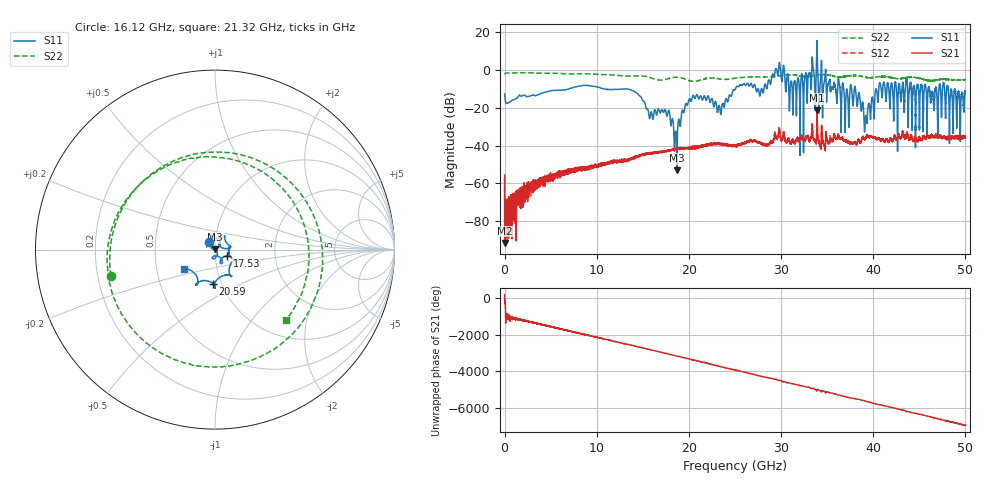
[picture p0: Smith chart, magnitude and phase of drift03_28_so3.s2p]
!Created with skrf (http://scikit-rf.org).
# Hz S RI R 50.0
!freq ReS11 ImS11 ReS21 ImS21 ReS12 ImS12 ReS22 ImS22
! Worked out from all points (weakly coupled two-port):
!   10001 points, 300 kHz to 50 GHz, reference 50 ohm
!   highest |S21| = -21.25 dB at 33.9 GHz (marker M1); lowest = -91.5 dB at 55.3 MHz (marker M2)
!   lowest |S11| = -53.0 dB at 18.7 GHz (marker M3), VSWR 1.00, Z = 50 + j0.221 ohm
!   |S11| at or under -10 dB: start of sweep to 6.945 GHz; 13.31 GHz to 25.05 GHz (11.73 GHz wide, 61.2 % of centre); 38.07 GHz to 40.27 GHz (2.191 GHz wide, 5.59 % of centre) (the widest 3 of 59)
!   |S22| runs from -5.9 to -1.3 dB; largest |S21 - S12| = 0.0093
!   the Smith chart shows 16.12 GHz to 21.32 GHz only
!   S11 on the Smith chart (normalised r, x): 16.12 GHz: 0.94, +0.08; 17.53 GHz: 1.14, -0.08; 20.59 GHz: 0.91, -0.36; 21.32 GHz: 0.69, -0.16
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300000  -0.211 -0.0979  -0.00166 0.0003  -0.00013 0.00138  -0.7661 -0.189
5.529967e7  -0.1599 0.0607  -1.91e-05 -1.84e-05  -0.000231 -5.4e-05  -0.8285 0.0636
1.530291e9  0.2029 0.0455  -6.17e-05 -0.000383  -3.19e-05 -0.000499  0.8487 0.0848
3.160281e9  -0.2188 -0.00834  0.000214 0.000816  -0.000221 0.000898  -0.8438 -0.0244
4.665272e9  0.2635 0.0612  -0.000236 -0.00143  -0.000316 -0.00144  0.8183 0.1415
6.355262e9  -0.2996 -0.0024  0.000715 0.00185  0.000539 0.00189  -0.8039 -0.0482
8.33525e9  0.2836 -0.268  -0.00246 -0.00117  -0.00225 -0.00093  0.601 -0.5366
1.043024e10  -0.0424 0.3319  0.00214 -0.00196  0.00257 -0.00188  -0.0358 0.7702
1.201523e10  0.00681 -0.3085  -0.00283 0.00264  -0.00283 0.00251  0.1035 -0.7285
1.61152e10  -0.0316 0.0413  0.00604 0.00191  0.0062 0.00209  -0.5792 -0.1472
1.66702e10  0.0544 0.0753  0.00438 -0.00493  0.00442 -0.00467  -0.3562 0.4194
1.752519e10  0.0672 -0.035  -0.00609 -0.00397  -0.00603 -0.00394  0.4934 0.2885
1.869519e10  0.000335 0.00221  0.00241 0.0078  0.00248 0.00783  -0.0888 -0.6486
2.058518e10  -0.0105 -0.191  -0.00889 -0.00442  -0.00767 -0.00369  0.3826 0.332
2.132017e10  -0.1703 -0.1074  -0.00468 0.00798  -0.00494 0.00877  0.3956 -0.393
2.500015e10  -0.2971 -0.0481  0.0074 0.00705  0.00774 0.0065  -0.192 -0.5814
3.051012e10  0.2452 -0.1065  -0.00213 0.0128  -0.00218 0.0127  0.7402 -0.0634
3.213011e10  0.2056 0.3719  -0.000575 -0.0144  -0.000124 -0.0155  -0.695 0.0176
3.33351e10  0.4488 -0.9853  -0.00547 0.0239  -0.0055 0.0237  0.6157 0.3634
3.38951e10  -0.7296 -6.076  0.0862 0.00895  0.0775 0.00538  0.677 -0.3218
4.167005e10  -0.2159 0.2864  -0.0114 -0.00469  -0.0115 -0.00466  -0.6504 -0.0519
5e10  -0.1465 -0.245  0.000414 -0.0161  0.00101 -0.0174  0.4636 -0.3174
